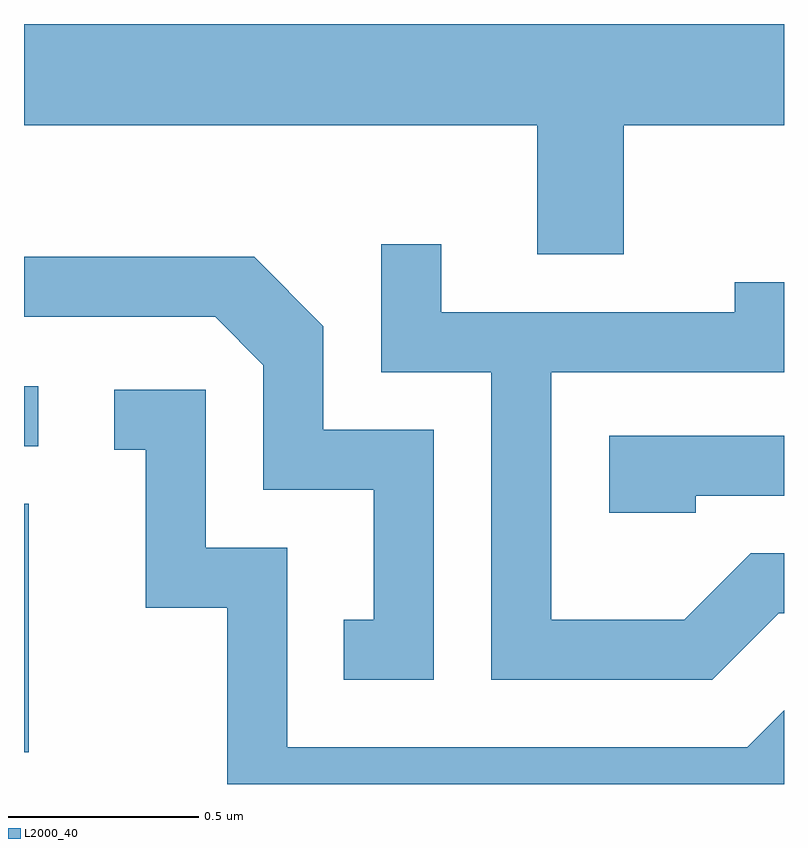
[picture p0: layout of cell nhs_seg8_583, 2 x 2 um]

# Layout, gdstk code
import gdstk
lib = gdstk.Library(unit=1e-6, precision=1e-09)
def R(c, l, rs):  # rectangles x0, y0, x1, y1
    for r in rs: c.add(gdstk.rectangle(r[:2], r[2:], *l))
def P(c, l, *ps):  # polygons
    for p in ps: c.add(gdstk.Polygon(p, *l))
L2000_40 = (2000, 40)

nhs_seg8_583 = lib.new_cell('nhs_seg8_583')
R(nhs_seg8_583, L2000_40, [(189.611,1841.426,189.624,1842.079), (189.611,1842.231,189.648,1842.389)])
P(nhs_seg8_583, L2000_40, [(191.189,1843.076),(191.611,1843.076),(191.611,1843.342),(189.611,1843.342),(189.611,1843.076),(190.961,1843.076),(190.961,1842.736),(191.189,1842.736)],
  [(191.597,1841.791),(191.611,1841.791),(191.611,1841.949),(191.524,1841.949),(191.349,1841.774),(190.999,1841.774),(190.999,1842.426),(191.611,1842.426),(191.611,1842.663),(191.481,1842.663),(191.481,1842.584),(190.709,1842.584),(190.709,1842.763),(190.551,1842.763),(190.551,1842.426),(190.841,1842.426),(190.841,1841.616),(191.422,1841.616)],
  [(190.689,1842.274),(190.399,1842.274),(190.399,1842.547),(190.217,1842.729),(189.611,1842.729),(189.611,1842.571),(190.114,1842.571),(190.241,1842.444),(190.241,1842.116),(190.531,1842.116),(190.531,1841.774),(190.453,1841.774),(190.453,1841.616),(190.689,1841.616)],
  [(191.611,1841.536),(191.514,1841.439),(190.304,1841.439),(190.304,1841.964),(190.089,1841.964),(190.089,1842.379),(189.848,1842.379),(189.848,1842.221),(189.931,1842.221),(189.931,1841.806),(190.146,1841.806),(190.146,1841.342),(191.611,1841.342)],
  [(191.379,1842.101),(191.611,1842.101),(191.611,1842.259),(191.151,1842.259),(191.151,1842.056),(191.379,1842.056)])

lib.write_gds('nhs_seg8_583.gds')
